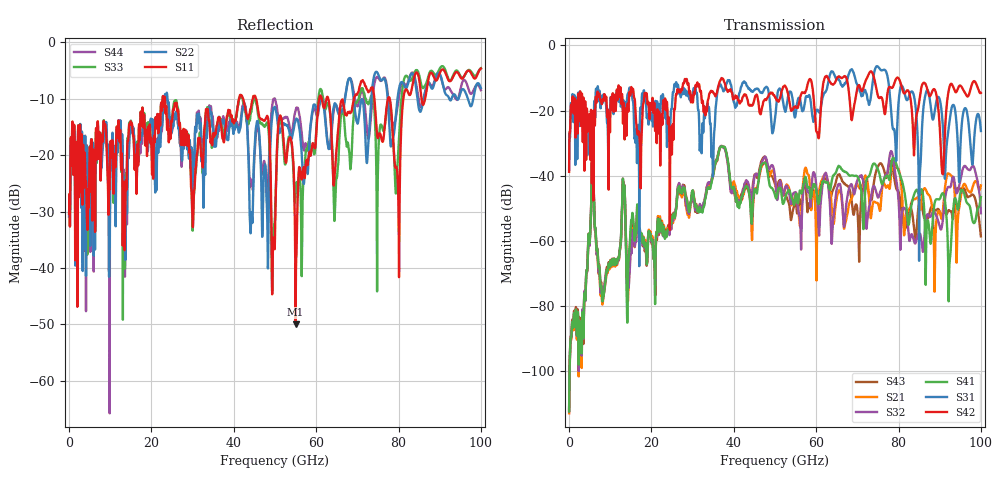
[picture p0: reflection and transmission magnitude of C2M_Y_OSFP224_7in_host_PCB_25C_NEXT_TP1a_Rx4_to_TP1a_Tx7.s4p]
# GHz S RI R 45
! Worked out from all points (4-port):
!   4000 points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, 25 MHz to 100 GHz, reference 45 ohm
!   strongest paths, dB at 25 MHz, 25.02 GHz, 50.02 GHz, 75.03 GHz, 100 GHz:
!     S42: -38.8, -30.3, -16.0, -15.6, -14.6
!     S31: -38.2, -17.7, -22.5, -6.5, -26.3
!     S41: -112.6, -52.7, -46.2, -38.2, -46.6
!     S32: -112.3, -53.4, -40.6, -46.8, -51.6
!     S21: -113.1, -53.6, -41.4, -48.6, -43.0
!     S43: -111.8, -52.1, -42.7, -37.2, -58.7
!   lowest |S11| = -50.0 dB at 55 GHz (marker M1), VSWR 1.01, Z = 44.7 + j0.0151 ohm
!   |S11| at or under -10 dB: start of sweep to 22.72 GHz; 23.26 GHz to 41.3 GHz (18.04 GHz wide, 55.9 % of centre); 45.4 GHz to 60.75 GHz (15.35 GHz wide, 28.9 % of centre)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
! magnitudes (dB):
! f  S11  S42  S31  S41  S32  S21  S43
! 25 MHz  -30.3  -38.8  -38.2  -112.6  -112.3  -113.1  -111.8
! 5.725 GHz  -23.7  -20.3  -23.6  -36.6  -36.8  -36.8  -36.6
! 8.075 GHz  -17.1  -17.3  -17.2  -78.2  -77.6  -79.5  -76.6
! 13.22 GHz  -24.8  -18.6  -16.8  -42.9  -43.1  -43.2  -42.8
! 37 GHz  -15.1  -10.0  -12.7  -31.0  -31.0  -31.1  -30.9
! 55 GHz  -50.0  -18.7  -21.5  -46.1  -45.1  -45.7  -47.5
! 100 GHz  -4.7  -14.6  -26.3  -46.6  -51.6  -43.0  -58.7
